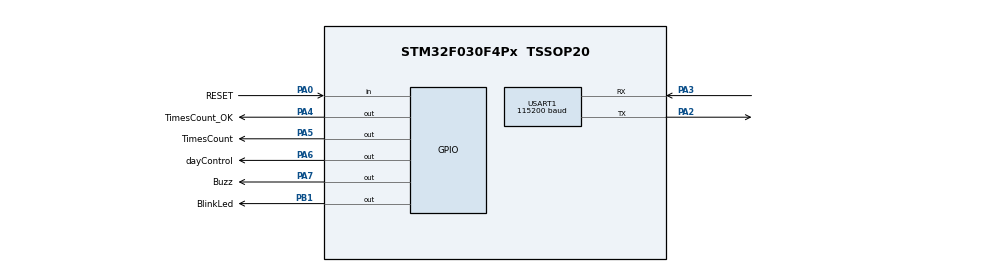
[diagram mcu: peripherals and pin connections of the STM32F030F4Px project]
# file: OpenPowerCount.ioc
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Mcu.Family=STM32F0
Mcu.Name=STM32F030F4Px
Mcu.Package=TSSOP20
PA0.GPIO_Label=RESET
PA0.GPIO_PuPd=GPIO_PULLUP
PA0.Signal=GPIO_Input
PA13.Mode=Serial_Wire
PA13.Signal=SYS_SWDIO
PA14.Mode=Serial_Wire
PA14.Signal=SYS_SWCLK
PA2.Mode=Asynchronous
PA2.Signal=USART1_TX
PA3.Mode=Asynchronous
PA3.Signal=USART1_RX
PA4.GPIO_Label=TimesCount_OK
PA4.GPIO_PuPd=GPIO_PULLUP
PA4.PinState=GPIO_PIN_SET
PA4.Signal=GPIO_Output
PA5.GPIO_Label=TimesCount
PA5.GPIO_ModeDefaultOutputPP=GPIO_MODE_OUTPUT_PP
PA5.GPIO_PuPd=GPIO_PULLUP
PA5.PinState=GPIO_PIN_SET
PA5.Signal=GPIO_Output
PA6.GPIO_Label=dayControl
PA6.GPIO_ModeDefaultOutputPP=GPIO_MODE_OUTPUT_PP
PA6.GPIO_PuPd=GPIO_PULLUP
PA6.PinState=GPIO_PIN_SET
PA6.Signal=GPIO_Output
PA7.GPIO_Label=Buzz
PA7.GPIO_ModeDefaultOutputPP=GPIO_MODE_OUTPUT_PP
PA7.GPIO_PuPd=GPIO_PULLUP
PA7.PinState=GPIO_PIN_SET
PA7.Signal=GPIO_Output
PB1.GPIO_Label=BlinkLed
PB1.GPIO_ModeDefaultOutputPP=GPIO_MODE_OUTPUT_PP
PB1.GPIO_PuPd=GPIO_PULLUP
PB1.PinState=GPIO_PIN_SET
PB1.Signal=GPIO_Output
ProjectManager.HeapSize=0x200
ProjectManager.StackSize=0x400
ProjectManager.TargetToolchain=STM32CubeIDE
USART1.BaudRate=115200
USART1.VirtualMode-Asynchronous=VM_ASYNC
board=custom

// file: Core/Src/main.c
/* USER CODE BEGIN Header */
/**
 ******************************************************************************
 * @file           : main.c
 * @brief          : Main program body
 ******************************************************************************
 * @attention
 *
 * <h2><center>&copy; Copyright (c) 2022 STMicroelectronics.
 * All rights reserved.</center></h2>
 *
 * This software component is licensed by ST under BSD 3-Clause license,
 * the "License"; You may not use this file except in compliance with the
 * License. You may obtain a copy of the License at:
 *                        opensource.org/licenses/BSD-3-Clause
 *
 ******************************************************************************
 */
/* USER CODE END Header */
#include "main.h"
#include "usart.h"
#include "gpio.h"

/* USER CODE BEGIN Includes */
#include "stm32f0xx_hal.h"

#define YEAR 365*3   // 365*3  天數限制
#define OneSec 1000 //系統秒數 預設1000 測試可以改為100
#define OneSetpTime 1000 //測試時可以改為1000
uint32_t writeFlashData;
uint32_t addr_timesCount = 0x08007000;
uint32_t addr_dayCount = 0x08007400;

int dayCount = 0;

int max_count = 3000;  // 開機次數限制
int buzz_flag = 0;
int buzz_count = 0;

/* USER CODE END Includes */

/* USER CODE BEGIN PTD */

#ifdef __GNUC__
#define PUTCHAR_PROTOTYPE int __io_putchar(int ch)
#else
#define PUTCHAR_PROTOTYPE int fputc(int ch, FILE *f)
#endif /* __GNUC__ */

PUTCHAR_PROTOTYPE {
	HAL_UART_Transmit(&huart1, (uint8_t*) &ch, 1, 0xFFFF);
	return ch;
}

/* USER CODE END PTD */

void SystemClock_Config(void);

/* USER CODE BEGIN 0 */
//FLASH写入数据测试
void writeFlashTest(uint32_t addr, int data) {
	//1、解锁FLASH
	HAL_FLASH_Unlock();

	//2、擦除FLASH
	//初始化FLASH_EraseInitTypeDef
	FLASH_EraseInitTypeDef f;
	f.TypeErase = FLASH_TYPEERASE_PAGES;
	f.PageAddress = addr;
	f.NbPages = 1;
	//设置PageError
	uint32_t PageError = 0;
	//调用擦除函数
	HAL_FLASHEx_Erase(&f, &PageError);

	//3、对FLASH烧写
	HAL_FLASH_Program(TYPEPROGRAM_WORD, addr, data);
	HAL_Delay(1);
	//4、锁住FLASH
	HAL_FLASH_Lock();
}

//FLASH读取数据测试
int printFlashTest(uint32_t addr) {
	uint32_t temp = *(__IO uint32_t*) (addr);

	printf("addr:0x%x, data:0x%x\r\n", addr, temp);
	//writeFlashData = temp + 1;
	return temp;

}

/* USER CODE END 0 */

int main(void)
{

  /* MCU Configuration--------------------------------------------------------*/

  /* Reset of all peripherals, Initializes the Flash interface and the Systick. */
  HAL_Init();

  /* Configure the system clock */
  SystemClock_Config();

  /* Initialize all configured peripherals */
  MX_GPIO_Init();
  MX_USART1_UART_Init();
  /* USER CODE BEGIN 2 */
	//flash TEST
	//writeFlashData = 0;
    HAL_Delay(500);
	printf("\n--s--\n");
	int count = 0;
	count = printFlashTest(addr_timesCount);
	count++;
	writeFlashTest(addr_timesCount, count);
	//檢查是否超出次數，超出則改變TimerCount(PA5狀態)
	if (count >= max_count) {
		printf("\rcount>%d\r", max_count);
		HAL_GPIO_WritePin(TimesCount_GPIO_Port, TimesCount_Pin,
				GPIO_PIN_RESET);
	} else {
		HAL_GPIO_WritePin(TimesCount_GPIO_Port, TimesCount_Pin,
				GPIO_PIN_SET);
	}

	dayCount = printFlashTest(addr_dayCount);
	printf("\n--e--\n");

	int timer = 0;
	int reset_count=0;
  /* USER CODE END 2 */

  /* Infinite loop */
	while (1) {

    /* USER CODE BEGIN 3 */
		HAL_GPIO_TogglePin(BlinkLed_GPIO_Port, BlinkLed_Pin);
		HAL_Delay(OneSec);
		//清除PA1進行軟體計數Reset
		if (HAL_GPIO_ReadPin(RESET_GPIO_Port, RESET_Pin) == 0) {
			reset_count++;
			if(reset_count>=10){
				printf("\n--reset--\n");
				writeFlashTest(addr_timesCount, 0);
				writeFlashTest(addr_dayCount, 0);
				count = 0;
				dayCount=0;
				//reset_count=0;
			}
		}else{
			reset_count=0;
		}

		printFlashTest(addr_timesCount);
		//檢查是否超出次數，超出則改變TimerCount(PA5狀態)
		if(count >= max_count) {
			printf("\rcount>%d\r", max_count);
			HAL_GPIO_WritePin(TimesCount_GPIO_Port, TimesCount_Pin,GPIO_PIN_RESET);
			HAL_GPIO_WritePin(TimesCount_OK_GPIO_Port, TimesCount_OK_Pin,GPIO_PIN_RESET);
		} else if(count >= 5){
			printf("\rcount>5\r");
			HAL_GPIO_WritePin(TimesCount_GPIO_Port, TimesCount_Pin,GPIO_PIN_RESET);
			HAL_GPIO_WritePin(TimesCount_OK_GPIO_Port, TimesCount_OK_Pin,GPIO_PIN_SET);
		} else {

			HAL_GPIO_WritePin(TimesCount_GPIO_Port, TimesCount_Pin,GPIO_PIN_SET);
			HAL_GPIO_WritePin(TimesCount_OK_GPIO_Port, TimesCount_OK_Pin,GPIO_PIN_SET);
		}
		//計數天數
		/*
		 * 一天=86400秒
		 * 每過一天進行計數並保存至FLASH中
		 */
		if (timer > 86400) {	// 天
			timer = 0;
			dayCount = printFlashTest(addr_dayCount);
			dayCount++;
			writeFlashTest(addr_dayCount, dayCount);
			printf("\nTimerReset: %1d \t dayCount:%1d \n", timer, dayCount);
		} else {
			timer = timer + OneSetpTime;
			printf("\nTimer: %1d \n", timer);
		}
		/*
		 * 當FLASH中天數超出設定天數，則改變dayControl_Pin(PA6)
		 */
		if (dayCount >= YEAR) {
			HAL_GPIO_WritePin(dayControl_GPIO_Port, dayControl_Pin, GPIO_PIN_RESET);
			buzz_flag = 1;
		}else{
			HAL_GPIO_WritePin(dayControl_GPIO_Port, dayControl_Pin, GPIO_PIN_SET);
			buzz_flag = 0;
		}

		/*
		 * Buzz flag = 1 時 蜂鳴器鳴叫半秒
		 * timer%4 則 表示 每四秒進行一次
		 */
		if (buzz_flag == 1) {
			if (timer % 4 == 0) {
				printf("\nbuzz!!\n");
				HAL_GPIO_WritePin(Buzz_GPIO_Port, Buzz_Pin, GPIO_PIN_SET);
				HAL_Delay(OneSec/2);
				HAL_GPIO_WritePin(Buzz_GPIO_Port, Buzz_Pin, GPIO_PIN_RESET);
				buzz_flag = 0;
			}
		}
	}
  /* USER CODE END 3 */
}

void SystemClock_Config(void)
{
  RCC_OscInitTypeDef RCC_OscInitStruct = {0};
  RCC_ClkInitTypeDef RCC_ClkInitStruct = {0};
  RCC_PeriphCLKInitTypeDef PeriphClkInit = {0};

  /** Initializes the RCC Oscillators according to the specified parameters
  * in the RCC_OscInitTypeDef structure.
  */
  RCC_OscInitStruct.OscillatorType = RCC_OSCILLATORTYPE_HSI;
  RCC_OscInitStruct.HSIState = RCC_HSI_ON;
  RCC_OscInitStruct.HSICalibrationValue = RCC_HSICALIBRATION_DEFAULT;
  RCC_OscInitStruct.PLL.PLLState = RCC_PLL_NONE;
  if (HAL_RCC_OscConfig(&RCC_OscInitStruct) != HAL_OK)
  {
    Error_Handler();
  }
  /** Initializes the CPU, AHB and APB buses clocks
  */
  RCC_ClkInitStruct.ClockType = RCC_CLOCKTYPE_HCLK|RCC_CLOCKTYPE_SYSCLK
                              |RCC_CLOCKTYPE_PCLK1;
  RCC_ClkInitStruct.SYSCLKSource = RCC_SYSCLKSOURCE_HSI;
  RCC_ClkInitStruct.AHBCLKDivider = RCC_SYSCLK_DIV1;
  RCC_ClkInitStruct.APB1CLKDivider = RCC_HCLK_DIV1;

  if (HAL_RCC_ClockConfig(&RCC_ClkInitStruct, FLASH_LATENCY_0) != HAL_OK)
  {
    Error_Handler();
  }
  PeriphClkInit.PeriphClockSelection = RCC_PERIPHCLK_USART1;
  PeriphClkInit.Usart1ClockSelection = RCC_USART1CLKSOURCE_PCLK1;
  if (HAL_RCCEx_PeriphCLKConfig(&PeriphClkInit) != HAL_OK)
  {
    Error_Handler();
  }
}

void Error_Handler(void)
{
	__disable_irq();
	while (1) {
	}
}

/************************ (C) COPYRIGHT STMicroelectronics *****END OF FILE****/
